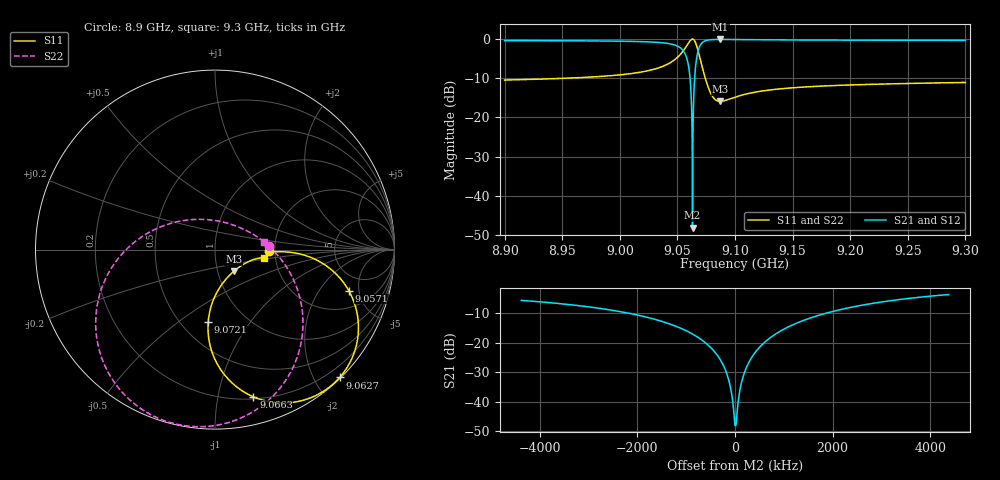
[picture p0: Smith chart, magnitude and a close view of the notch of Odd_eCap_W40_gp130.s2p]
! Sonnet Data File
! From: emgraph Version : 16.52
! From Project: Resonator2_extremeCap2
! Data is De-embedded
! Data File Written: 10/11/2017 16:32:17
!< HDATE 10/11/2017 09:31:16
!< MDATE 10/11/2017 09:31:16
!< PARAMS
!< Pwid1 = 2000.0
!< Pwid2 = 2000.0
!< Air_gap = 24.0
!< Width = 40.0
!< Gap = 130.0
!< END PARAMS
# GHZ S MA R 45.40000
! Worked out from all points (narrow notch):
!   2193 points, 8.9 GHz to 9.3 GHz, reference 45.4 ohm
!   highest |S21| = -0.11 dB at 9.0872 GHz (marker M1); lowest = -48.1 dB at 9.0631 GHz (marker M2)
!   notch at M2: 47.7 dB deep, 730 kHz wide at half that depth
!   lowest |S11| = -15.9 dB at 9.0872 GHz (marker M3), VSWR 1.38, Z = 54.2 - j13.5 ohm
!   |S11| at or under -10 dB: start of sweep to 8.9541 GHz; 9.0742 GHz to end of sweep
!   |S22| runs from -15.9 to 0.0 dB; largest |S21 - S12| = 0
!   S11 on the Smith chart (normalised r, x): 8.9 GHz: 1.85, -0.04; 9.0571 GHz: 3.36, -3.90; 9.0627 GHz: 0.02, -2.37; 9.0663 GHz: 0.22, -1.27; 9.0721 GHz: 0.67, -0.65; 9.3 GHz: 1.74, -0.19
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8.9  0.2995 -2.0  0.9541 -89.2  0.9541 -89.2  0.2995 3.6
!< P1 F=8.9 Eeff=(5.09096395 -2.214e-5) Z0=(45.4059169 1.00354e-4) R=0.0 C=0.0
!< P2 F=8.9 Eeff=(5.09096395 -2.214e-5) Z0=(45.4059169 1.00354e-4) R=0.0 C=0.0
8.96675  0.3224 -2.1  0.9466 -91.3  0.9466 -91.3  0.3224 -0.5
9.033479  0.4272 -2.1  0.904 -99.0  0.904 -99.0  0.4271 -15.9
9.04875  0.5609 -5.6  0.8275 -108.4  0.8275 -108.4  0.5607 -31.4
9.057131  0.7792 -17.0  0.6249 -126.1  0.6249 -126.1  0.7786 -55.5
9.060987  0.9472 -33.5  0.3136 -146.5  0.3136 -146.5  0.9463 -80.6
9.061991  0.981 -40.1  0.1801 -154.0  0.1801 -154.0  0.98 -90.0
9.062731  0.9949 -45.7  0.06646 -158.8  0.06646 -158.8  0.9938 -97.7
9.063124  0.997 -48.9  0.003925 -102.4  0.003925 -102.4  0.9959 -102.1
9.063247  0.9968 -49.9  0.0192 2.7  0.0192 2.7  0.9957 -103.4
9.06354  0.9945 -52.3  0.06895 7.4  0.06895 7.4  0.9934 -106.8
9.064064  0.984 -56.8  0.1598 3.8  0.1598 3.8  0.9828 -113.0
9.066347  0.8477 -75.4  0.5251 -18.1  0.5251 -18.1  0.8464 -140.1
9.069  0.6164 -89.8  0.785 -38.5  0.785 -38.5  0.6152 -166.8
9.072141  0.4059 -95.4  0.9127 -53.5  0.9127 -53.5  0.4049 168.8
9.079267  0.1986 -79.2  0.9797 -68.8  0.9797 -68.8  0.1978 121.6
9.087199  0.1599 -49.1  0.9869 -75.8  0.9869 -75.8  0.1595 77.6
9.08725  0.1599 -49.0  0.9869 -75.8  0.9869 -75.8  0.1595 77.3
9.1  0.1811 -26.1  0.9834 -80.8  0.9834 -80.8  0.1809 44.5
9.16675  0.2472 -11.1  0.9689 -87.4  0.9689 -87.4  0.2472 16.4
9.2335  0.2675 -10.1  0.9636 -89.4  0.9636 -89.4  0.2675 11.3
9.3  0.279 -10.2  0.9603 -90.8  0.9603 -90.8  0.279 8.7
